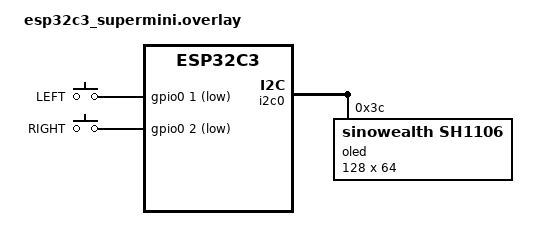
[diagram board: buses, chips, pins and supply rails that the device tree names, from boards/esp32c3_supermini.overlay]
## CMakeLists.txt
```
cmake_minimum_required(VERSION 3.20.0)

find_package(Zephyr REQUIRED HINTS $ENV{ZEPHYR_BASE})

project(app LANGUAGES C)

zephyr_include_directories(include)

target_sources(app PRIVATE
  src/main.c
  src/button.c
  src/bitmap.c
  src/cat.c
  src/heart.c
  src/storage.c
)
```

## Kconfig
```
menu "Application"

config APP_HEARTBEAT_INTERVAL_MS
	int "Heartbeat log interval (ms)"
	default 1000
	help
	  Interval between heartbeat (debug-level) log messages printed by main().

config APP_INACTIVITY_SLEEP_MS
	int "Inactivity time before power off (ms)"
	default 5000
	help
	  The display is blanked and the system powers off after this long
	  without any button activity. Pressing a button wakes it up again.

endmenu

source "Kconfig.zephyr"
```

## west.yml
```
# West manifest (T2 "star" topology): this repo is the manifest repository.
#
# The dev container sets up the workspace automatically (.devcontainer/setup-west.sh).
# Manual equivalent, from the directory that contains this repo:
#
#   west init -l <repo-dir>
#   west update
#   west blobs fetch
#
# Add other HAL modules to name-allowlist when targeting other SoCs.

manifest:
  remotes:
    - name: zephyrproject-rtos
      url-base: https://github.com/zephyrproject-rtos

  projects:
    - name: zephyr
      remote: zephyrproject-rtos
      # v4.5.0-1672-g072fd9442fe (tested)
      revision: 072fd9442fe12568bcc3d3c61e4f390ed5cf35a3
      import:
        name-allowlist:
          - hal_espressif
          - lvgl
```

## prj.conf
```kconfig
CONFIG_MAIN_STACK_SIZE=4096

CONFIG_LOG=y
CONFIG_LOG_MODE_IMMEDIATE=y

CONFIG_I2C=y
CONFIG_DISPLAY=y
CONFIG_SSD1306=y
CONFIG_LVGL=y
CONFIG_LV_USE_LOG=y
CONFIG_LV_USE_LABEL=y
CONFIG_LV_USE_IMAGE=y
CONFIG_LV_Z_MEM_POOL_SIZE=32768
CONFIG_LV_Z_VDB_SIZE=100
CONFIG_LV_Z_COLOR_FORMAT_I1=y
CONFIG_LV_FONT_DEFAULT_UNSCII_8=y

CONFIG_INPUT=y
CONFIG_INPUT_GPIO_KEYS=y

CONFIG_ENTROPY_GENERATOR=y
CONFIG_POWEROFF=y

# Keep the tap count across power off / power loss (NVS on storage_partition)
CONFIG_FLASH=y
CONFIG_FLASH_MAP=y
CONFIG_NVS=y

# Images are A1 (decoded to A8) and the display is I1; drop the other
# software renderers to save flash.
CONFIG_LV_DRAW_SW_SUPPORT_RGB565=n
CONFIG_LV_DRAW_SW_SUPPORT_RGB565_SWAPPED=n
CONFIG_LV_DRAW_SW_SUPPORT_RGB565A8=n
CONFIG_LV_DRAW_SW_SUPPORT_RGB888=n
CONFIG_LV_DRAW_SW_SUPPORT_XRGB8888=n
CONFIG_LV_DRAW_SW_SUPPORT_ARGB8888=n
CONFIG_LV_DRAW_SW_SUPPORT_ARGB8888_PREMULTIPLIED=n
CONFIG_LV_DRAW_SW_SUPPORT_L8=n
CONFIG_LV_DRAW_SW_SUPPORT_AL88=n
```

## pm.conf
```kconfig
# Experimental: enter light sleep while idle between frames.
# Build with: just build-pm
#
# Caveats (ESP32-C3, current Zephyr):
# - Light sleep only wakes on the RTC timer, not on key presses; the main
#   loop wakes at least every LVGL refresh period, so keys are picked up then.
# - The USB Serial/JTAG console may drop while sleeping.
CONFIG_PM=y
CONFIG_PM_DEVICE=y
CONFIG_COUNTER=y
```

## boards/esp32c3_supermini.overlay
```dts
#include <zephyr/dt-bindings/input/input-event-codes.h>

/ {
    chosen {
        zephyr,display = &oled;
    };

    aliases {
    };

    gpio_keys {
        key1: key_left {
            label = "LEFT";
            gpios = <&gpio0 1 (GPIO_PULL_UP | GPIO_ACTIVE_LOW | GPIO_INT_WAKEUP)>;
            zephyr,code = <INPUT_KEY_LEFT>;
        };

        key2: key_right {
            label = "RIGHT";
            gpios = <&gpio0 2 (GPIO_PULL_UP | GPIO_ACTIVE_LOW | GPIO_INT_WAKEUP)>;
            zephyr,code = <INPUT_KEY_RIGHT>;
        };
    };
};

&i2c0 {
    status = "okay";

    oled: sh1106@3c {
        status = "okay";
        compatible = "sinowealth,sh1106";
        reg = <0x3c>;

        height = <64>;
        width = <128>;

        segment-offset = <2>;
        page-offset = <0>;
        display-offset = <0>;
        multiplex-ratio = <63>;
        prechargep = <0x22>;
        segment-remap;
        com-invdir;
    };
};

&i2c0_default {
    group1 {
        pinmux = <I2C0_SDA_GPIO3>,
                <I2C0_SCL_GPIO4>;
    };
};
```

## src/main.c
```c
#include <zephyr/kernel.h>
#include <zephyr/logging/log.h>
#include <zephyr/input/input.h>
#include <zephyr/sys/poweroff.h>
#include <zephyr/drivers/display.h>
#include <lvgl.h>
#include "button.h"
#include "cat.h"
#include "heart.h"
#include "storage.h"

LOG_MODULE_REGISTER(app, LOG_LEVEL_INF);

/* How long the "Zzz" hint stays on screen before powering off. */
#define SLEEP_HINT_MS 1000

static lv_obj_t *heart_count_label;

static void update_label(void)
{
    static uint32_t shown_count = 0;
    uint32_t count = heart_get_count();

    if (count != shown_count) {
        shown_count = count;
        lv_label_set_text_fmt(heart_count_label, "%u", count);
    }
}

static void init(void)
{
    lv_obj_set_style_bg_color(lv_screen_active(), lv_color_black(), LV_PART_MAIN);
    heart_count_label = lv_label_create(lv_screen_active());
    lv_obj_set_style_text_font(heart_count_label, &lv_font_unscii_8, LV_PART_MAIN);
    lv_obj_set_style_text_color(heart_count_label, lv_color_white(), LV_PART_MAIN);
    lv_label_set_text_fmt(heart_count_label, "%u", heart_get_count());
}

static void restore_count(void)
{
    uint32_t count;

    if (storage_init() == 0 && storage_load_count(&count) == 0) {
        heart_set_count(count);
        LOG_INF("Restored count: %u", count);
    }
}

static void show_sleep_hint(void)
{
    lv_obj_t *label = lv_label_create(lv_screen_active());
    lv_obj_set_style_text_font(label, &lv_font_unscii_8, LV_PART_MAIN);
    lv_obj_set_style_text_color(label, lv_color_white(), LV_PART_MAIN);
    lv_label_set_text(label, "Zzz");
    lv_obj_align(label, LV_ALIGN_TOP_RIGHT, 0, 0);
    lv_refr_now(NULL);
    k_msleep(SLEEP_HINT_MS);
}

static void power_off(void)
{
    const struct device *display_dev = DEVICE_DT_GET(DT_CHOSEN(zephyr_display));
    int ret;

    ret = storage_save_count(heart_get_count());
    if (ret < 0) {
        LOG_WRN("Failed to save count (%d)", ret);
    }

    show_sleep_hint();

    if (device_is_ready(display_dev)) {
        ret = display_blanking_on(display_dev);
        if (ret < 0) {
            LOG_WRN("Failed to turn on display blanking (%d)", ret);
        }
    }
    k_msleep(100); // Give some time for the display to blank before powering off
    sys_poweroff();
}

int main(void)
{
    int64_t last = 0;
    int64_t last_activity = 0;
    uint32_t sleep_ms = 0;

    restore_count();
    init();
    cat_init();
    button_replay_wakeup();
    LOG_INF("Starting...");

    while (1) {
        int64_t now = k_uptime_get();
        if (now - last >= CONFIG_APP_HEARTBEAT_INTERVAL_MS) {
            last = now;
            LOG_DBG("ALIVE");
        }
        if (now - last_activity >= CONFIG_APP_INACTIVITY_SLEEP_MS) {
            power_off();
        }

        if (cat_update()) {
            last_activity = k_uptime_get();
        }
        heart_update();
        update_label();

        sleep_ms = lv_timer_handler();
        if (sleep_ms == LV_NO_TIMER_READY) {
            sleep_ms = 1;
        }
        k_msleep(sleep_ms);
    }

    return 0;
}
```

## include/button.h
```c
#pragma once

#include <stdint.h>

typedef enum {
    BUTTON_R_PRESSED,
    BUTTON_R_RELEASED,
    BUTTON_L_PRESSED,
    BUTTON_L_RELEASED,
} button_event_t;

int button_get(button_event_t *evt);

/*
 * If the system just woke from deep sleep because a key was pressed,
 * queue that press so it counts as a tap.
 */
void button_replay_wakeup(void);
```

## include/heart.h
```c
#pragma once
#include <stdint.h>

void heart_append(uint32_t x, uint32_t y);
void heart_update(void);
void heart_set_count(uint32_t count);
uint32_t heart_get_count(void);
```

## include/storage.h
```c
#pragma once

#include <stdint.h>

/* Mount the NVS storage. Returns 0 on success. */
int storage_init(void);
/* Load the saved tap count. Returns 0 on success, negative if none saved. */
int storage_load_count(uint32_t *count);
/* Save the tap count. Returns 0 on success. */
int storage_save_count(uint32_t count);
```

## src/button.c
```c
#include <zephyr/kernel.h>
#include <zephyr/input/input.h>
#include "button.h"

K_MSGQ_DEFINE(button_msgq, sizeof(button_event_t), 10, 4);

static void button_cb(struct input_event *p_evt, void *user_data)
{
    if (!p_evt->sync) {
        return;
    }

    if (p_evt->type == INPUT_EV_KEY) {
        button_event_t b_evt;
        switch (p_evt->code) {
        case INPUT_KEY_RIGHT:
            if (p_evt->value != 0) {
                b_evt = BUTTON_R_PRESSED;
            }
            else {
                b_evt = BUTTON_R_RELEASED;
            }
            break;
        case INPUT_KEY_LEFT:
            if (p_evt->value != 0) {
                b_evt = BUTTON_L_PRESSED;
            }
            else {
                b_evt = BUTTON_L_RELEASED;
            }
            break;
        default:
            return; // Ignore other keys
        }

        k_msgq_put(&button_msgq, &b_evt, K_NO_WAIT);
    }
}

INPUT_CALLBACK_DEFINE(NULL, button_cb, NULL);

int button_get(button_event_t *p_evt)
{
    return k_msgq_get(&button_msgq, p_evt, K_NO_WAIT);
}
```

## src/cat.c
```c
#include <zephyr/kernel.h>
#include <zephyr/random/random.h>
#include <lvgl.h>
#include "button.h"
#include "heart.h"
#include "cat.h"

typedef enum {
    CAT_IDLE,
    CAT_PREP,
    CAT_TAP_R,
    CAT_TAP_RD,
    CAT_TAP_L,
    CAT_TAP_LD,
    CAT_TAP_B,
    CAT_TAP_BD,
    CAT_TAP_BRD,
    CAT_TAP_BLD,
} cat_state_t;

#define CAT_HIT_MS (100UL)
#define CAT_PREP_MS (1200UL)
#define HEART_POS_RIGHT_X (70)
#define HEART_POS_RIGHT_Y (22)
#define HEART_POS_LEFT_X (28)
#define HEART_POS_LEFT_Y (28)
#define HEART_POS_RANDOM_OFFSET_X (30)
#define HEART_POS_RANDOM_OFFSET_Y (12)
#define GET_HEART_POS_RIGHT_X() (HEART_POS_RIGHT_X + sys_rand8_get() * HEART_POS_RANDOM_OFFSET_X / 255)
#define GET_HEART_POS_RIGHT_Y() (HEART_POS_RIGHT_Y + sys_rand8_get() * HEART_POS_RANDOM_OFFSET_Y / 255)
#define GET_HEART_POS_LEFT_X() (HEART_POS_LEFT_X + sys_rand8_get() * HEART_POS_RANDOM_OFFSET_X / 255)
#define GET_HEART_POS_LEFT_Y() (HEART_POS_LEFT_Y + sys_rand8_get() * HEART_POS_RANDOM_OFFSET_Y / 255)
#define GET_IMG(name) extern const lv_image_dsc_t name;

K_TIMER_DEFINE(cat_state_timer, NULL, NULL);

GET_IMG(cat_idle_1_img);
GET_IMG(cat_idle_2_img);
GET_IMG(cat_idle_3_img);
GET_IMG(cat_idle_4_img);
GET_IMG(cat_idle_5_img);
GET_IMG(cat_prep_img);
GET_IMG(cat_tap_r_img);
GET_IMG(cat_tap_rd_img);
GET_IMG(cat_tap_l_img);
GET_IMG(cat_tap_ld_img);
GET_IMG(cat_tap_b_img);
GET_IMG(cat_tap_bd_img);
GET_IMG(cat_tap_brd_img);
GET_IMG(cat_tap_bld_img);

static const lv_image_dsc_t *cat_idle_img[] = {
    &cat_idle_1_img,
    &cat_idle_2_img,
    &cat_idle_3_img,
    &cat_idle_4_img,
    &cat_idle_5_img
};
static lv_obj_t *cat_img;
static lv_timer_t *cat_anim_timer;
static cat_state_t cat_state = CAT_IDLE;

static void cat_anim_timer_cb(lv_timer_t *timer)
{
    static uint8_t curr_frame = 0;
    curr_frame = (curr_frame + 1) % ARRAY_SIZE(cat_idle_img);
    lv_image_set_src(cat_img, cat_idle_img[curr_frame]);
}

static void update_cat_img(cat_state_t state)
{
    switch (state) {
    case CAT_IDLE:
        lv_timer_resume(cat_anim_timer);
        break;
    case CAT_PREP:
        lv_timer_pause(cat_anim_timer);
        lv_image_set_src(cat_img, &cat_prep_img);
        break;
    case CAT_TAP_R:
        lv_timer_pause(cat_anim_timer);
        lv_image_set_src(cat_img, &cat_tap_r_img);
        break;
    case CAT_TAP_RD:
        lv_timer_pause(cat_anim_timer);
        lv_image_set_src(cat_img, &cat_tap_rd_img);
        break;
    case CAT_TAP_L:
        lv_timer_pause(cat_anim_timer);
        lv_image_set_src(cat_img, &cat_tap_l_img);
        break;
    case CAT_TAP_LD:
        lv_timer_pause(cat_anim_timer);
        lv_image_set_src(cat_img, &cat_tap_ld_img);
        break;
    case CAT_TAP_B:
        lv_timer_pause(cat_anim_timer);
        lv_image_set_src(cat_img, &cat_tap_b_img);
        break;
    case CAT_TAP_BD:
        lv_timer_pause(cat_anim_timer);
        lv_image_set_src(cat_img, &cat_tap_bd_img);
        break;
    case CAT_TAP_BRD:
        lv_timer_pause(cat_anim_timer);
        lv_image_set_src(cat_img, &cat_tap_brd_img);
        break;
    case CAT_TAP_BLD:
        lv_timer_pause(cat_anim_timer);
        lv_image_set_src(cat_img, &cat_tap_bld_img);
        break;
    }
}

static cat_state_t update_cat_state(cat_state_t state) {
    /* Time at which the current state was entered (by timeout or button). */
    static int64_t state_since = 0;
    int64_t now = k_uptime_get();
    int64_t in_state = now - state_since;
    button_event_t evt;
    cat_state_t next_state = state;

    switch (next_state) {
    case CAT_TAP_L:
        if (in_state >= CAT_HIT_MS) {
            next_state = CAT_TAP_LD;
        }
        break;
    case CAT_TAP_R:
        if (in_state >= CAT_HIT_MS) {
            next_state = CAT_TAP_RD;
        }
        break;
    case CAT_TAP_B:
    case CAT_TAP_BRD:
    case CAT_TAP_BLD:
        if (in_state >= CAT_HIT_MS) {
            next_state = CAT_TAP_BD;
        }
        break;
    case CAT_PREP:
        if (in_state >= CAT_PREP_MS) {
            next_state = CAT_IDLE;
        }
        break;
    default:
        break;
    }

    while (button_get(&evt) == 0) {
        switch (next_state) {
        case CAT_IDLE:
        case CAT_PREP:
            switch (evt) {
            case BUTTON_R_PRESSED:
                next_state = CAT_TAP_R;
                break;
            case BUTTON_L_PRESSED:
                next_state = CAT_TAP_L;
                break;
            default:
                break;
            }
            break;
        case CAT_TAP_R:
            switch (evt) {
            case BUTTON_R_RELEASED:
                next_state = CAT_PREP;
                break;
            case BUTTON_L_PRESSED:
                next_state = CAT_TAP_B;
                break;
            default:
                break;
            }
            break;
        case CAT_TAP_RD:
            switch (evt) {
            case BUTTON_L_PRESSED:
                next_state = CAT_TAP_BRD;
                break;
            case BUTTON_R_RELEASED:
                next_state = CAT_PREP;
                break;
            default:
                break;
            }
            break;
        case CAT_TAP_L:
            switch (evt) {
            case BUTTON_R_PRESSED:
                next_state = CAT_TAP_B;
                break;
            case BUTTON_L_RELEASED:
                next_state = CAT_PREP;
                break;
            default:
                break;
            }
            break;
        case CAT_TAP_LD:
            switch (evt) {
            case BUTTON_R_PRESSED:
                next_state = CAT_TAP_BLD;
                break;
            case BUTTON_L_RELEASED:
                next_state = CAT_PREP;
                break;
            default:
                break;
            }
            break;
        case CAT_TAP_B:
        case CAT_TAP_BRD:
        case CAT_TAP_BLD:
            switch (evt) {
            case BUTTON_L_PRESSED:
            case BUTTON_R_PRESSED:
                next_state = CAT_PREP;
                break;
            default:
                break;
            }
            break;
        case CAT_TAP_BD:
            switch (evt) {
            case BUTTON_L_RELEASED:
                next_state = CAT_TAP_RD;
                break;
            case BUTTON_R_RELEASED:
                next_state = CAT_TAP_LD;
                break;
            default:
                break;
            }
            break;
        default:
            break;
        }
    }

    if (next_state != state) {
        state_since = now;
    }

    return next_state;
}

void cat_init(void)
{
    cat_img = lv_image_create(lv_screen_active());
    lv_obj_set_style_image_recolor(cat_img, lv_color_white(), LV_PART_MAIN);
    lv_obj_align(cat_img, LV_ALIGN_CENTER, 0, 0);
    lv_image_set_src(cat_img, cat_idle_img[0]);
    cat_anim_timer = lv_timer_create(cat_anim_timer_cb, 100, NULL);
    lv_timer_resume(cat_anim_timer);
}

int cat_update(void)
{
    cat_state_t new_cat_state = update_cat_state(cat_state);
    if (new_cat_state != cat_state) {
        update_cat_img(new_cat_state);
        switch (new_cat_state) {
        case CAT_TAP_R:
        case CAT_TAP_BLD:
            heart_append(GET_HEART_POS_RIGHT_X(), GET_HEART_POS_RIGHT_Y());
            break;
        case CAT_TAP_L:
        case CAT_TAP_BRD:
            heart_append(GET_HEART_POS_LEFT_X(), GET_HEART_POS_LEFT_Y());
            break;
        case CAT_TAP_B:
            heart_append(GET_HEART_POS_RIGHT_X(), GET_HEART_POS_RIGHT_Y());
            heart_append(GET_HEART_POS_LEFT_X(), GET_HEART_POS_LEFT_Y());
            break;
        default:
            break;
        }
        cat_state = new_cat_state;
        return 1; // Indicate that the cat state has changed
    }
    return 0; // Indicate that the cat state has not changed
}
```

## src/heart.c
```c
#include <zephyr/kernel.h>
#include <zephyr/logging/log.h>
#include <zephyr/sys/slist.h>
#include <lvgl.h>
#include "heart.h"

LOG_MODULE_REGISTER(heart, LOG_LEVEL_INF);

#define HEART_INTERVAL_MS 60
/* Heart style 0-2 have 13 frames; style 3 only has 10 in bitmap.c. */
#define HEART_TYPE 0
#define HEART_IMG(num) HEART_IMG_1(HEART_TYPE, num)
#define HEART_IMG_1(type, num) HEART_IMG_2(type, num)
#define HEART_IMG_2(type, num) heart_##type##_##num##_img
#define GET_IMG(name) extern const lv_image_dsc_t name;

GET_IMG(HEART_IMG(1));
GET_IMG(HEART_IMG(2));
GET_IMG(HEART_IMG(3));
GET_IMG(HEART_IMG(4));
GET_IMG(HEART_IMG(5));
GET_IMG(HEART_IMG(6));
GET_IMG(HEART_IMG(7));
GET_IMG(HEART_IMG(8));
GET_IMG(HEART_IMG(9));
GET_IMG(HEART_IMG(10));
GET_IMG(HEART_IMG(11));
GET_IMG(HEART_IMG(12));
GET_IMG(HEART_IMG(13));

static const lv_image_dsc_t *heart_img[] = {
    &HEART_IMG(1),
    &HEART_IMG(2),
    &HEART_IMG(3),
    &HEART_IMG(4),
    &HEART_IMG(5),
    &HEART_IMG(6),
    &HEART_IMG(7),
    &HEART_IMG(8),
    &HEART_IMG(9),
    &HEART_IMG(10),
    &HEART_IMG(11),
    &HEART_IMG(12),
    &HEART_IMG(13)
};

typedef struct {
    int64_t stamp;
    lv_obj_t *img;
    uint8_t frame;
} heart_t;

typedef struct {
    sys_snode_t node;
    heart_t h;
} heart_node_t;

static sys_slist_t heart_list = SYS_SLIST_STATIC_INIT(&heart_list);
static uint32_t heart_count = 0;

void heart_append(uint32_t x, uint32_t y)
{
    /* Count the tap even if there is no memory left to animate it. */
    heart_count++;

    heart_node_t *node = k_malloc(sizeof(heart_node_t));
    if (node == NULL) {
        LOG_WRN("Out of memory, skipping heart animation");
        return;
    }

    node->h.stamp = k_uptime_get();
    node->h.frame = 0;
    node->h.img = lv_image_create(lv_screen_active());
    lv_obj_set_style_image_recolor(node->h.img, lv_color_white(), LV_PART_MAIN);
    lv_obj_set_pos(node->h.img, x, y);
    lv_image_set_src(node->h.img, heart_img[0]);
    sys_slist_append(&heart_list, &node->node);
}

void heart_update(void)
{
    heart_node_t *node, *tmp;
    sys_snode_t *prev = NULL;
    int64_t now = k_uptime_get();

    SYS_SLIST_FOR_EACH_CONTAINER_SAFE(&heart_list, node, tmp, node) {
        int64_t elapse = now - node->h.stamp;
        if (elapse >= HEART_INTERVAL_MS * ARRAY_SIZE(heart_img)) {
            sys_slist_remove(&heart_list, prev, &node->node);
            lv_obj_delete(node->h.img);
            k_free(node);
        }
        else {
            uint8_t frame = elapse / HEART_INTERVAL_MS;
            if (frame != node->h.frame) {
                node->h.frame = frame;
                lv_image_set_src(node->h.img, heart_img[frame]);
            }
            prev = &node->node;
        }
    }
}

uint32_t heart_get_count(void)
{
    return heart_count;
}
```
